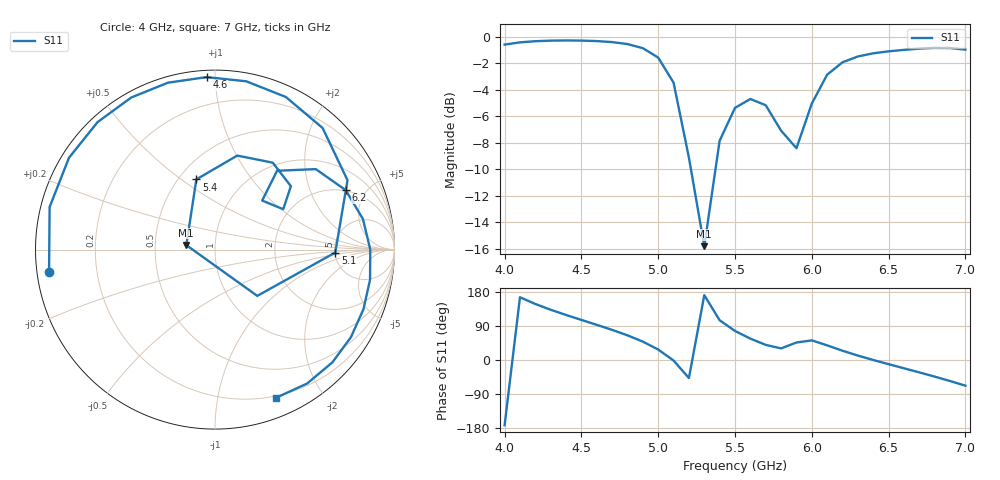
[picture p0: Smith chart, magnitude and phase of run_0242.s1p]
! Touchstone file exported from HFSS 2024.2.0
!  File:  C:/Users/wsak9/Desktop/Sim Fast/Widenad Patch/WP_AI_V1_sweep.aedt
!  Generated:  01:09:22 AM Oct 14, 2026
!  Design:  A1_model
!  Project:  WP_AI_V1_sweep
!  Setup:  Setup1
!  Solution:  Sweep
! Variables:
!  Air_gap = 3.33mm
!  Curve_Amp1 = 3.68
!  Curve_len1 = 1
!  Curve_pos = 10.615mm
!  Extra = 1.87mm
!  H_sub = 0.79mm
!  L_Patch = 17.23mm
!  L_Patch1 = 15.63mm
!  Sx = 4.72mm
!  Sy = 3.57mm
!  WS = 0.26mm
!  W_Patch = 11.2mm
!  W_Patch1 = 13.76mm
!Data is not renormalized
# GHz S MA
! Terminal data exported
! Port[1] = 1
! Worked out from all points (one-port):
!   31 points, 4 GHz to 7 GHz, reference per port
!   lowest |S11| = -15.8 dB at 5.3 GHz (marker M1), VSWR 1.39
!   |S11| at or under -10 dB: 5.213 GHz to 5.373 GHz (160.2 MHz wide, 3.03 % of centre)
!   S11 on the Smith chart (normalised r, x): 4 GHz: 0.03, -0.07; 4.6 GHz: 0.04, +0.95; 5.1 GHz: 5.05, -0.30; 5.4 GHz: 0.61, +0.57; 6.2 GHz: 1.96, +3.61; 7 GHz: 0.18, -1.47
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4  0.9331 -172.2
4.1  0.9515 165.6
4.2  0.9611 147.8
4.3  0.9658 132.6
4.4  0.9673 118.8
4.5  0.9662 105.7
4.6  0.9622 92.8
4.7  0.9537 79.5
4.8  0.9374 65.1
4.9  0.9046 48.5
5  0.8333 27.6
5.1  0.6704 -1.4
5.2  0.3492 -47.6
5.3  0.1618 171.1
5.4  0.4046 104.9
5.5  0.5384 76.7
5.6  0.5815 56.4
5.7  0.5509 39.9
5.8  0.4417 30.6
5.9  0.3791 46.1
6  0.5589 51.8
6.1  0.7185 38.6
6.2  0.8002 24.4
6.3  0.8417 11.7
6.5  0.88 -11.0
6.7  0.9009 -32.7
6.8  0.9069 -43.8
7  0.8931 -67.7
